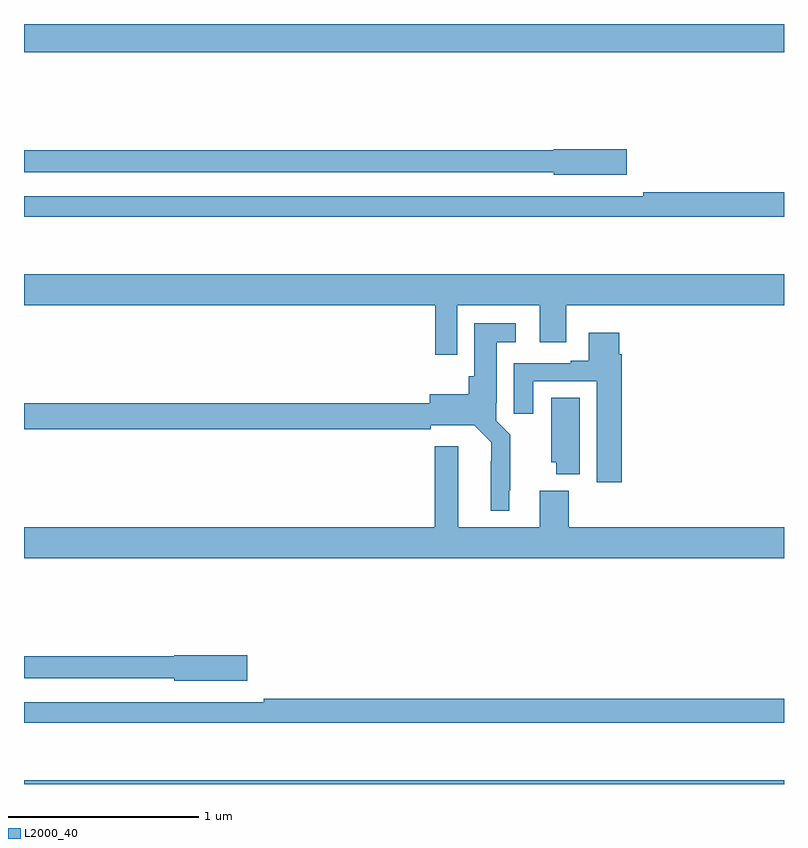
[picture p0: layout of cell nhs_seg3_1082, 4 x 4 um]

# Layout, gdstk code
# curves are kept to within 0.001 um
import gdstk
lib = gdstk.Library(unit=1e-6, precision=1e-09)
def R(c, l, rs):  # rectangles x0, y0, x1, y1
    for r in rs: c.add(gdstk.rectangle(r[:2], r[2:], *l))
def P(c, l, *ps):  # polygons
    for p in ps: c.add(gdstk.Polygon(p, *l))
L2000_40 = (2000, 40)

nhs_seg3_1082 = lib.new_cell('nhs_seg3_1082')
R(nhs_seg3_1082, L2000_40, [(167,694.4,171,694.42), (167,698.252,171,698.4)])
P(nhs_seg3_1082, L2000_40, [(170.173,697.742),(169.788,697.742),(169.788,697.736),(167,697.736),(167,697.62),(169.788,697.62),(169.788,697.607),(170.173,697.607)],
  [(171,697.514),(170.26,697.514),(170.26,697.494),(167,697.494),(167,697.386),(171,697.386)],
  [(169.281,696.92),(169.715,696.92),(169.715,696.726),(169.855,696.726),(169.855,696.92),(171,696.92),(171,697.084),(167,697.084),(167,696.92),(169.165,696.92),(169.165,696.66),(169.281,696.66)],
  [(169.555,695.947),(169.559,695.947),(169.559,696.238),(169.485,696.312),(169.485,696.406),(169.489,696.406),(169.489,696.725),(169.588,696.725),(169.588,696.826),(169.37,696.826),(169.37,696.546),(169.34,696.546),(169.34,696.451),(169.136,696.451),(169.136,696.404),(167,696.404),(167,696.268),(169.14,696.268),(169.14,696.287),(169.371,696.287),(169.458,696.2),(169.457,695.837),(169.555,695.837)],
  [(170.147,696.662),(170.134,696.662),(170.134,696.775),(169.973,696.775),(169.973,696.628),(169.877,696.628),(169.877,696.615),(169.577,696.615),(169.577,696.348),(169.681,696.348),(169.681,696.519),(170.015,696.519),(170.015,695.988),(170.147,695.988)],
  [(169.924,696.434),(169.775,696.434),(169.775,696.093),(169.802,696.093),(169.802,696.029),(169.924,696.029)],
  [(171,695.752),(169.868,695.752),(169.868,695.944),(169.715,695.944),(169.715,695.752),(169.285,695.752),(169.285,696.178),(169.163,696.178),(169.163,695.752),(167,695.752),(167,695.588),(171,695.588)],
  [(168.175,695.078),(167.79,695.078),(167.79,695.072),(167,695.072),(167,694.956),(167.79,694.956),(167.79,694.943),(168.175,694.943)],
  [(171,694.85),(168.262,694.85),(168.262,694.83),(167,694.83),(167,694.722),(171,694.722)])

lib.write_gds('nhs_seg3_1082.gds')
